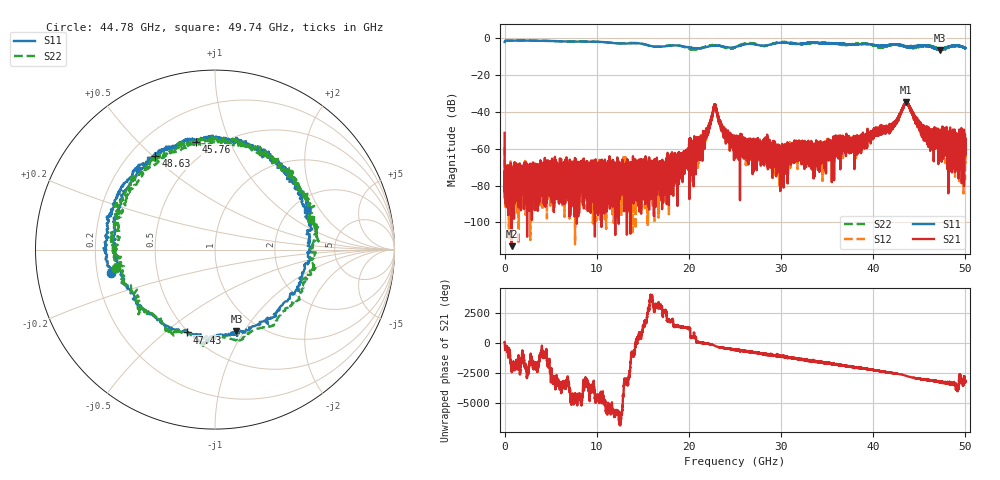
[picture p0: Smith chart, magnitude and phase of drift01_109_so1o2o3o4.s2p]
!Created with skrf (http://scikit-rf.org).
# Hz S RI R 50.0
!freq ReS11 ImS11 ReS21 ImS21 ReS12 ImS12 ReS22 ImS22
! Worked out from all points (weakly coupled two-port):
!   10001 points, 300 kHz to 50 GHz, reference 50 ohm
!   highest |S21| = -34.86 dB at 43.53 GHz (marker M1); lowest = -112.9 dB at 770.3 MHz (marker M2)
!   lowest |S11| = -6.5 dB at 47.2 GHz (marker M3), VSWR 2.78, Z = 39.6 - j46.4 ohm
!   |S11| at or under -10 dB: nowhere
!   |S22| runs from -6.4 to -1.4 dB; largest |S21 - S12| = 0.0037
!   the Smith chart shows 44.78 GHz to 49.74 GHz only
!   S11 on the Smith chart (normalised r, x): 44.78 GHz: 0.26, -0.11; 45.76 GHz: 0.40, +0.76; 47.43 GHz: 0.49, -0.59; 48.63 GHz: 0.30, +0.51; 49.74 GHz: 2.40, +1.55
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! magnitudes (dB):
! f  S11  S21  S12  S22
! 300 kHz  -2.2  -51.4  -59.0  -2.1
! 255.3 MHz  -1.4  -70.9  -86.8  -1.4
! 770.3 MHz  -1.5  -112.9  -76.5  -1.5
! 8.335 GHz  -1.9  -78.8  -73.9  -1.8
! 16.67 GHz  -4.8  -80.5  -78.3  -4.8
! 21.13 GHz  -5.6  -58.1  -56.9  -5.9
! 21.85 GHz  -5.0  -50.1  -55.6  -4.7
! 22.79 GHz  -4.3  -36.4  -36.3  -4.0
! 23.84 GHz  -4.7  -51.0  -51.7  -5.1
! 25 GHz  -5.0  -55.3  -54.3  -5.1
! 30 GHz  -2.6  -59.1  -62.5  -2.2
! 33.34 GHz  -2.6  -62.1  -61.8  -2.6
! 38.67 GHz  -3.3  -53.7  -59.5  -3.2
! 41.67 GHz  -3.9  -49.3  -48.8  -4.1
! 43.53 GHz  -4.8  -34.9  -35.2  -4.6
! 44.78 GHz  -4.5  -45.1  -44.9  -5.0
! 45.76 GHz  -4.3  -51.6  -52.2  -4.3
! 47.2 GHz  -6.5  -56.5  -52.2  -6.0
! 47.43 GHz  -6.2  -53.5  -52.2  -5.5
! 48.63 GHz  -4.2  -62.4  -53.5  -4.7
! 49.74 GHz  -5.0  -54.1  -56.3  -5.0
! 50 GHz  -5.5  -63.3  -60.7  -5.3
